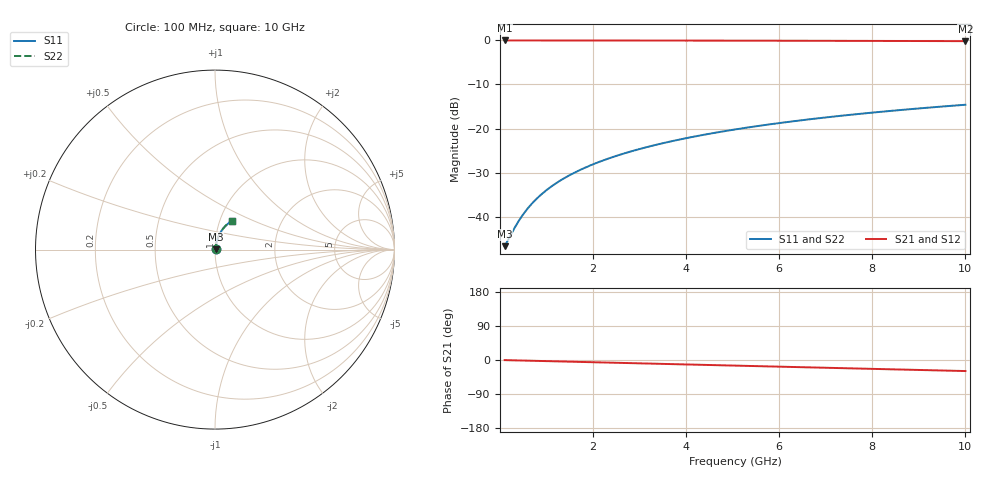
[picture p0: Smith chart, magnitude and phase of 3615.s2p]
# Hz S RI R 50.00
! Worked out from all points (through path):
!   100 points, 100 MHz to 10 GHz, reference 50 ohm
!   highest |S21| = -0.04 dB at 100 MHz (marker M1); lowest = -0.2 dB at 10 GHz (marker M2)
!   group delay of S21, straight-line fit = 8.1 ps
!   lowest |S11| = -46.7 dB at 100 MHz (marker M3), VSWR 1.01, Z = 50.4 + j0.195 ohm
!   |S11| at or under -10 dB: start of sweep to end of sweep
!   |S22| runs from -46.7 to -14.6 dB; largest |S21 - S12| = 0
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1e8  0.00422 0.00194  0.9958 -0.0051  0.9958 -0.0051  0.00422 0.00194
3e8  0.00434 0.0058  0.9956 -0.0153  0.9956 -0.0153  0.00434 0.0058
4e8  0.00443 0.00774  0.9955 -0.0204  0.9955 -0.0204  0.00443 0.00774
5e8  0.00453 0.00967  0.9953 -0.0255  0.9953 -0.0255  0.00453 0.00967
6e8  0.00465 0.0116  0.9951 -0.0306  0.9951 -0.0306  0.00465 0.0116
7e8  0.00479 0.0135  0.9949 -0.0357  0.9949 -0.0357  0.00479 0.0135
8e8  0.00495 0.0155  0.9947 -0.0408  0.9947 -0.0408  0.00495 0.0155
1e9  0.00532 0.0193  0.9941 -0.051  0.9941 -0.051  0.00532 0.0193
1.2e9  0.00577 0.0232  0.9935 -0.0611  0.9935 -0.0611  0.00577 0.0232
1.5e9  0.00659 0.0289  0.9922 -0.0764  0.9922 -0.0764  0.00659 0.0289
1.8e9  0.00759 0.0346  0.9907 -0.0916  0.9907 -0.0916  0.00759 0.0346
2.1e9  0.00875 0.0403  0.989 -0.1068  0.989 -0.1068  0.00875 0.0403
2.5e9  0.0106 0.0478  0.9862 -0.127  0.9862 -0.127  0.0106 0.0478
2.9e9  0.0127 0.0552  0.983 -0.1471  0.983 -0.1471  0.0127 0.0552
3.4e9  0.0158 0.0644  0.9783 -0.172  0.9783 -0.172  0.0158 0.0644
4.2e9  0.0217 0.0786  0.9693 -0.2116  0.9693 -0.2116  0.0217 0.0786
5.1e9  0.0296 0.0939  0.957 -0.2555  0.957 -0.2555  0.0296 0.0939
5.9e9  0.0379 0.1069  0.9443 -0.2938  0.9443 -0.2938  0.0379 0.1069
6.7e9  0.0471 0.1191  0.9299 -0.3313  0.9299 -0.3313  0.0471 0.1191
7.5e9  0.0573 0.1305  0.9138 -0.368  0.9138 -0.368  0.0573 0.1305
8.4e9  0.0698 0.1423  0.8939 -0.4082  0.8939 -0.4082  0.0698 0.1423
1e10  0.0943 0.1602  0.854 -0.4764  0.854 -0.4764  0.0943 0.1602
